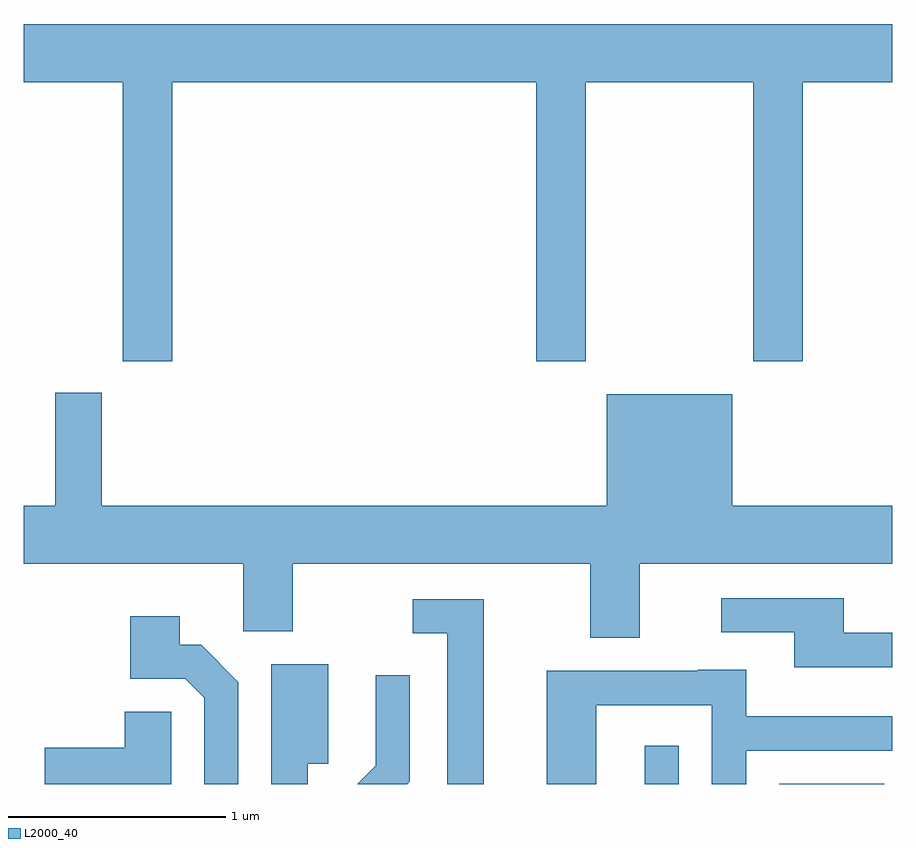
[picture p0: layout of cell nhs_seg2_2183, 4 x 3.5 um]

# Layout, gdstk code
import gdstk
lib = gdstk.Library(unit=1e-6, precision=1e-09)
def R(c, l, rs):  # rectangles x0, y0, x1, y1
    for r in rs: c.add(gdstk.rectangle(r[:2], r[2:], *l))
def P(c, l, *ps):  # polygons
    for p in ps: c.add(gdstk.Polygon(p, *l))
L2000_40 = (2000, 40)

nhs_seg2_2183 = lib.new_cell('nhs_seg2_2183')
R(nhs_seg2_2183, L2000_40, [(252.471,991.802,252.629,991.978), (253.091,991.802,253.575,991.804)])
P(nhs_seg2_2183, L2000_40, [(250.294,995.036),(251.971,995.036),(251.971,993.751),(252.199,993.751),(252.199,995.036),(252.971,995.036),(252.971,993.751),(253.199,993.751),(253.199,995.036),(253.611,995.036),(253.611,995.304),(249.611,995.304),(249.611,995.036),(250.066,995.036),(250.066,993.751),(250.294,993.751)],
  [(252.449,992.816),(253.611,992.816),(253.611,993.084),(252.874,993.084),(252.874,993.599),(252.296,993.599),(252.296,993.084),(249.969,993.084),(249.969,993.604),(249.756,993.604),(249.756,993.084),(249.611,993.084),(249.611,992.816),(250.621,992.816),(250.621,992.506),(250.849,992.506),(250.849,992.816),(252.221,992.816),(252.221,992.476),(252.449,992.476)],
  [(253.611,992.499),(253.389,992.499),(253.389,992.659),(252.823,992.659),(252.823,992.501),(253.161,992.501),(253.161,992.341),(253.611,992.341)],
  [(251.729,992.654),(251.403,992.654),(251.403,992.496),(251.561,992.496),(251.561,991.802),(251.729,991.802)],
  [(250.599,992.272),(250.427,992.444),(250.329,992.444),(250.329,992.574),(250.101,992.574),(250.101,992.286),(250.354,992.286),(250.441,992.199),(250.441,991.802),(250.599,991.802)],
  [(250.919,991.896),(251.014,991.896),(251.014,992.354),(250.751,992.354),(250.751,991.802),(250.919,991.802)],
  [(252.249,992.166),(252.781,992.166),(252.781,991.802),(252.939,991.802),(252.939,991.956),(253.611,991.956),(253.611,992.114),(252.939,992.114),(252.939,992.329),(252.715,992.329),(252.715,992.324),(252.021,992.324),(252.021,991.802),(252.249,991.802)],
  [(251.389,991.814),(251.389,992.303),(251.231,992.303),(251.231,991.887),(251.146,991.802),(251.377,991.802)],
  [(250.289,992.134),(250.076,992.134),(250.076,991.969),(249.706,991.969),(249.706,991.802),(250.289,991.802)])

lib.write_gds('nhs_seg2_2183.gds')
